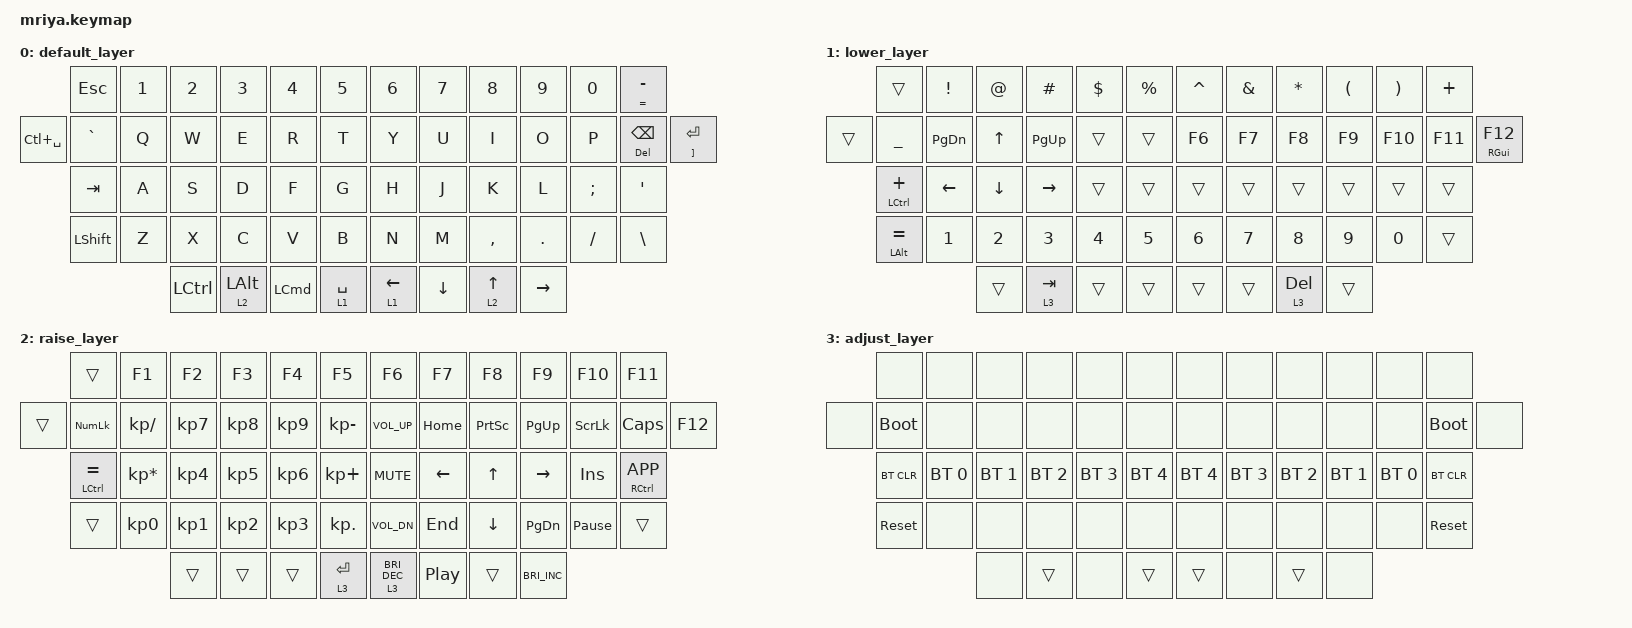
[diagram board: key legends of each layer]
/*
 * Copyright (c) 2023 Andrei Gaevskii
 *
 * SPDX-License-Identifier: MIT
 */

#include <behaviors.dtsi>
#include <dt-bindings/zmk/bt.h>
#include <dt-bindings/zmk/keys.h>

#define DEF 0
#define LWR 1
#define RSE 2
#define ADJ 3

&lt { quick_tap_ms = <200>; };

&mt { quick_tap_ms = <200>; };

/ {
    keymap {
        compatible = "zmk,keymap";

        default_layer {
            bindings = <
               &kp ESC         &kp N1  &kp N2            &kp N3          &kp N4            &kp N5         &kp N6            &kp N7    &kp N8          &kp N9           &kp N0    &mt EQUAL MINUS
&kp LC(SPACE)  &kp GRAVE       &kp Q   &kp W             &kp E           &kp R             &kp T          &kp Y             &kp U     &kp I           &kp O            &kp P     &mt DEL BACKSPACE  &mt RIGHT_BRACKET ENTER
               &kp TAB         &kp A   &kp S             &kp D           &kp F             &kp G          &kp H             &kp J     &kp K           &kp L            &kp SEMI  &kp SQT
               &kp LEFT_SHIFT  &kp Z   &kp X             &kp C           &kp V             &kp B          &kp N             &kp M     &kp COMMA       &kp DOT          &kp FSLH  &kp BSLH
                                       &kp LEFT_CONTROL  &lt 2 LEFT_ALT  &kp LEFT_COMMAND  &lt 1 SPACE    &lt 1 LEFT_ARROW  &kp DOWN  &lt 2 UP_ARROW  &kp RIGHT_ARROW
            >;
        };

        lower_layer {
            bindings = <
        &trans          &kp EXCLAMATION  &kp AT_SIGN   &kp HASH   &kp DOLLAR  &kp PERCENT    &kp CARET  &kp AMPERSAND  &kp ASTERISK  &kp LEFT_PARENTHESIS  &kp RIGHT_PARENTHESIS  &kp PLUS
&trans  &kp UNDER       &kp PAGE_DOWN    &kp UP_ARROW  &kp PG_UP  &trans      &trans         &kp F6     &kp F7         &kp F8        &kp F9                &kp F10                &kp F11   &mt RGUI F12
        &mt LCTRL PLUS  &kp LEFT_ARROW   &kp DOWN      &kp RIGHT  &trans      &trans         &trans     &trans         &trans        &trans                &trans                 &trans
        &mt LALT EQUAL  &kp N1           &kp N2        &kp N3     &kp N4      &kp N5         &kp N6     &kp N7         &kp N8        &kp N9                &kp N0                 &trans
                                         &trans        &lt 3 TAB  &trans      &trans         &trans     &trans         &lt 3 DEL     &trans
            >;
        };

        raise_layer {
            bindings = <
        &trans           &kp F1           &kp F2     &kp F3     &kp F4     &kp F5          &kp F6           &kp F7            &kp F8     &kp F9         &kp F10          &kp F11
&trans  &kp KP_NUM       &kp KP_SLASH     &kp KP_N7  &kp KP_N8  &kp KP_N9  &kp KP_MINUS    &kp C_VOL_UP     &kp HOME          &kp PSCRN  &kp PG_UP      &kp SLCK         &kp CAPS         &kp F12
        &mt LCTRL EQUAL  &kp KP_MULTIPLY  &kp KP_N4  &kp KP_N5  &kp KP_N6  &kp KP_PLUS     &kp C_MUTE       &kp LEFT          &kp UP     &kp RIGHT      &kp INS          &mt RCTRL K_APP
        &trans           &kp KP_N0        &kp KP_N1  &kp KP_N2  &kp KP_N3  &kp KP_DOT      &kp C_VOL_DN     &kp END           &kp DOWN   &kp PG_DN      &kp PAUSE_BREAK  &trans
                                          &trans     &trans     &trans     &lt 3 RET       &lt 3 C_BRI_DEC  &kp C_PLAY_PAUSE  &trans     &kp C_BRI_INC
            >;
        };

        adjust_layer {
            bindings = <
       &none        &none         &none         &none         &none         &none           &none         &none         &none         &none         &none         &none
&none  &bootloader  &none         &none         &none         &none         &none           &none         &none         &none         &none         &none         &bootloader  &none
       &bt BT_CLR   &bt BT_SEL 0  &bt BT_SEL 1  &bt BT_SEL 2  &bt BT_SEL 3  &bt BT_SEL 4    &bt BT_SEL 4  &bt BT_SEL 3  &bt BT_SEL 2  &bt BT_SEL 1  &bt BT_SEL 0  &bt BT_CLR
       &sys_reset   &none         &none         &none         &none         &none           &none         &none         &none         &none         &none         &sys_reset
                                  &none         &trans        &none         &trans          &trans        &none         &trans        &none
            >;
        };
    };
};
